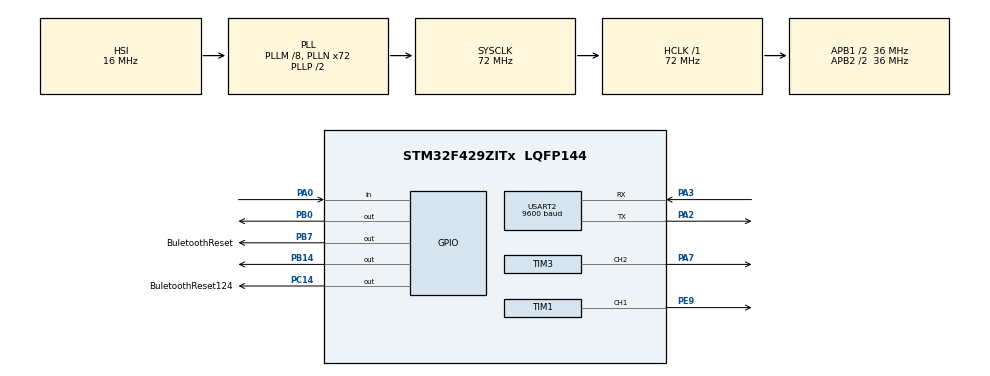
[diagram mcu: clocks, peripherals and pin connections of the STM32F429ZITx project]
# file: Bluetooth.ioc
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Dma.Request0=TIM1_CH1
Dma.TIM1_CH1.0.Direction=DMA_MEMORY_TO_PERIPH
Dma.TIM1_CH1.0.FIFOMode=DMA_FIFOMODE_DISABLE
Dma.TIM1_CH1.0.Instance=DMA2_Stream1
Dma.TIM1_CH1.0.MemDataAlignment=DMA_MDATAALIGN_HALFWORD
Dma.TIM1_CH1.0.MemInc=DMA_MINC_ENABLE
Dma.TIM1_CH1.0.Mode=DMA_NORMAL
Dma.TIM1_CH1.0.PeriphDataAlignment=DMA_PDATAALIGN_HALFWORD
Dma.TIM1_CH1.0.PeriphInc=DMA_PINC_DISABLE
Dma.TIM1_CH1.0.Priority=DMA_PRIORITY_LOW
Mcu.Family=STM32F4
Mcu.Name=STM32F429ZITx
Mcu.Package=LQFP144
NVIC.DMA2_Stream1_IRQn=true\:0\:0\:false\:false\:true\:false\:true\:true
NVIC.PriorityGroup=NVIC_PRIORITYGROUP_4
NVIC.TIM3_IRQn=true\:0\:0\:false\:false\:true\:true\:true\:true
NVIC.USART2_IRQn=true\:0\:0\:false\:false\:true\:true\:true\:true
PA0/WKUP.Signal=GPIO_Input
PA2.Mode=Asynchronous
PA2.Signal=USART2_TX
PA3.Mode=Asynchronous
PA3.Signal=USART2_RX
PA7.Signal=S_TIM3_CH2
PB0.Signal=GPIO_Output
PB14.Signal=GPIO_Output
PB7.GPIO_Label=BuletoothReset
PB7.Signal=GPIO_Output
PC14/OSC32_IN.GPIO_Label=BuletoothReset124
PC14/OSC32_IN.Signal=GPIO_Output
PE9.Signal=S_TIM1_CH1
PH0/OSC_IN.Mode=HSE-External-Oscillator
PH0/OSC_IN.Signal=RCC_OSC_IN
PH1/OSC_OUT.Mode=HSE-External-Oscillator
PH1/OSC_OUT.Signal=RCC_OSC_OUT
ProjectManager.HeapSize=0x200
ProjectManager.StackSize=0x400
ProjectManager.TargetToolchain=EWARM V8.32
RCC.48MHZClocksFreq_Value=36000000
RCC.AHBFreq_Value=72000000
RCC.APB1CLKDivider=RCC_HCLK_DIV2
RCC.APB1Freq_Value=36000000
RCC.APB1TimFreq_Value=72000000
RCC.APB2CLKDivider=RCC_HCLK_DIV2
RCC.APB2Freq_Value=36000000
RCC.APB2TimFreq_Value=72000000
RCC.CortexFreq_Value=72000000
RCC.HCLKFreq_Value=72000000
RCC.HSE_VALUE=25000000
RCC.HSI_VALUE=16000000
RCC.LSE_VALUE=32768
RCC.PLLM=8
RCC.PLLN=72
RCC.SYSCLKFreq_VALUE=72000000
RCC.SYSCLKSource=RCC_SYSCLKSOURCE_PLLCLK
RCC.VCOOutputFreq_Value=144000000
RTC.Date=25
RTC.Format=RTC_FORMAT_BIN
RTC.Hours=13
RTC.Minutes=4
RTC.Month=RTC_MONTH_NOVEMBER
RTC.SynchPrediv=251+1
RTC.WeekDay=RTC_WEEKDAY_FRIDAY
RTC.Year=22
SH.S_TIM1_CH1.0=TIM1_CH1,PWM Generation1 CH1
SH.S_TIM3_CH2.0=TIM3_CH2,PWM Generation2 CH2
TIM1.Channel-PWM\ Generation1\ CH1=TIM_CHANNEL_1
TIM1.Period=867-1
TIM3.Channel-PWM\ Generation2\ CH2=TIM_CHANNEL_2
TIM3.Period=1999
TIM3.Prescaler=720
USART2.BaudRate=9600
USART2.Mode=MODE_TX_RX
USART2.VirtualMode=VM_ASYNC
VP_RTC_VS_RTC_Activate.Mode=RTC_Enabled
VP_RTC_VS_RTC_Calendar.Mode=RTC_Calendar
VP_TIM1_VS_ClockSourceINT.Mode=Internal
VP_TIM3_VS_ClockSourceINT.Mode=Internal
board=custom

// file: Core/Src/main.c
/* USER CODE BEGIN Header */
/**
  ******************************************************************************
  * @file           : main.c
  * @brief          : Main program body
  ******************************************************************************
  * @attention
  *
  * <h2><center>&copy; Copyright (c) 2022 STMicroelectronics.
  * All rights reserved.</center></h2>
  *
  * This software component is licensed by ST under BSD 3-Clause license,
  * the "License"; You may not use this file except in compliance with the
  * License. You may obtain a copy of the License at:
  *                        opensource.org/licenses/BSD-3-Clause
  *
  ******************************************************************************
  */
/* USER CODE END Header */
#include "main.h"

/* USER CODE BEGIN Includes */
#include "extern.h"
#include <string.h>
#include <stdlib.h>
#include "mylibrary.h"
#include "math.h"
#include <stdio.h>
/* USER CODE END Includes */

 RTC_HandleTypeDef hrtc;

TIM_HandleTypeDef htim1;
TIM_HandleTypeDef htim3;
DMA_HandleTypeDef hdma_tim1_ch1;

UART_HandleTypeDef huart2;

/* USER CODE BEGIN PV */
char buffer[20];
int a =0;
int ia=0;
int iz=0;
/* USER CODE END PV */

void SystemClock_Config(void);
static void MX_GPIO_Init(void);
static void MX_USART2_UART_Init(void);
static void MX_DMA_Init(void);
static void MX_TIM3_Init(void);
static void MX_TIM1_Init(void);
static void MX_RTC_Init(void);

/* USER CODE BEGIN 0 */
#define MAX_LED 160
#define USE_BRIGHTNESS 1 //밝기조절 필요하면 1, 필요없으면 0

uint8_t LED_Data[MAX_LED][4]; //LED_Data는 개별 LED 색상 저장하는데 사용
uint8_t LED_Mod[MAX_LED][4];  // 밝기설정에 따라 스케일링 된 값

int datasentflag=0;

void HAL_TIM_PWM_PulseFinishedCallback(TIM_HandleTypeDef *htim)
{
	HAL_TIM_PWM_Stop_DMA(&htim1, TIM_CHANNEL_1);
	datasentflag=1;
}

void Set_LED (int LEDnum, int Red, int Green, int Blue)
{
	LED_Data[LEDnum][0] = LEDnum;
	LED_Data[LEDnum][1] = Green;
	LED_Data[LEDnum][2] = Red;
	LED_Data[LEDnum][3] = Blue;
}

#define PI 3.14159265

void Set_Brightness (int brightness)  // 0-45 : 밝기는 0-255 사이이고 TAN함수로 선형적으로 만듦
{
#if USE_BRIGHTNESS

	if (brightness > 45) brightness = 45;
	for (int i=0; i<MAX_LED; i++)
	{
		LED_Mod[i][0] = LED_Data[i][0];
		for (int j=1; j<4; j++)
		{
			float angle = 90-brightness;  // in degrees
			angle = angle*PI / 180;  // in rad
			LED_Mod[i][j] = (LED_Data[i][j])/(tan(angle));
		}
	}

#endif
}

uint16_t pwmData[(24*MAX_LED)+80];

void SK6812_Send (void)
{
	uint32_t indx=0;
	uint32_t color;

	for (int i= 0; i<MAX_LED; i++)
	{
#if USE_BRIGHTNESS
		color = ((LED_Mod[i][1]<<16) | (LED_Mod[i][2]<<8) | (LED_Mod[i][3]));
#else
		color = ((LED_Data[i][1]<<16) | (LED_Data[i][2]<<8) | (LED_Data[i][3]));
#endif

		for (int i=23; i>=0; i--)
		{
			if (color&(1<<i))
			{
				pwmData[indx] = 67;  // 3/4 of 90
			}

			else pwmData[indx] = 22;  // 1/4 of 90

			indx++;
		}

	}

	for (int i=0; i<80; i++)
	{
		pwmData[indx] = 0;
		indx++;
	}

	HAL_TIM_PWM_Start_DMA(&htim1, TIM_CHANNEL_1, (uint32_t *)pwmData, indx);
	while (!datasentflag){};
	datasentflag = 0;
}

void Reset_LED (void)
{
	for (int i=0; i<MAX_LED; i++)
	{
		LED_Data[i][0] = i;
		LED_Data[i][1] = 0;
		LED_Data[i][2] = 0;
		LED_Data[i][3] = 0;
	}
}
  int rz = 10;
  int gz = 15;
  int bz = 30;

// 무지개 색상데이터

  ////////////////////////////////
 uint16_t effStep = 0;

uint8_t rainbow_effect_left() {
    // Strip ID: 0 - Effect: Rainbow - LEDS: 160
    // Steps: 8 - Delay: 31
    // Colors: 3 (255.0.0, 0.255.0, 0.0.255)
    // Options: rainbowlen=1, toLeft=true,

  float factor1, factor2;
  uint16_t ind;
  for(uint16_t j=0;j<160;j++) {
    ind = effStep + j * 8;
    switch((int)((ind % 8) / 2.6666666666666665)) {
      case 0: factor1 = 1.0 - ((float)(ind % 8 - 0 * 2.6666666666666665) / 2.6666666666666665);
              factor2 = (float)((int)(ind - 0) % 8) / 2.6666666666666665;
              Set_LED(j, 255 * factor1 + 0 * factor2, 0 * factor1 + 255 * factor2, 0 * factor1 + 0 * factor2);
			  Set_Brightness(20);
		      SK6812_Send();
              break;
      case 1: factor1 = 1.0 - ((float)(ind % 8 - 1 * 2.6666666666666665) / 2.6666666666666665);
              factor2 = (float)((int)(ind - 2.6666666666666665) % 8) / 2.6666666666666665;
              Set_LED(j, 0 * factor1 + 0 * factor2, 255 * factor1 + 0 * factor2, 0 * factor1 + 255 * factor2);
			  Set_Brightness(20);
		      SK6812_Send();
              break;
      case 2: factor1 = 1.0 - ((float)(ind % 8 - 2 * 2.6666666666666665) / 2.6666666666666665);
              factor2 = (float)((int)(ind - 5.333333333333333) % 8) / 2.6666666666666665;
              Set_LED(j, 0 * factor1 + 255 * factor2, 0 * factor1 + 0 * factor2, 255 * factor1 + 0 * factor2);
			  Set_Brightness(20);
		      SK6812_Send();
              break;
    }
  }
  if(effStep >= 8) {effStep=0; return 0x03; }
  else effStep++;
  return 0x01;
}
uint8_t timer_count = 0, buffer_index = 0;

uint8_t string_compare(char array1[], char array2[], uint16_t length)
{
	 uint8_t comVAR=0, i;
	 for(i=0;i<length;i++)
	   	{
	   		  if(array1[i]==array2[i])
	   	  		  comVAR++;
	   	  	  else comVAR=0;
	   	}
	 if (comVAR==length)
		 	return 1;
	 else 	return 0;
}
// 색상 값 및 While 탈출식
void Message_handler()
{
	    if(string_compare(buffer, "ledon", strlen("ledon")))
	{
a=3;

		//HAL_GPIO_WritePin(GPIOB,GPIO_PIN_7, GPIO_PIN_SET);
               // HAL_GPIO_WritePin(GPIOB,GPIO_PIN_14, GPIO_PIN_SET);
              //  HAL_GPIO_WritePin(GPIOB,GPIO_PIN_0, GPIO_PIN_SET);

		HAL_UART_Transmit(&huart2, (uint8_t*)"LED is ON.\n", strlen("LED is ON.\n"), 200);
	}else
	if(string_compare(buffer, "ledoff", strlen("ledoff")))
	{
          a=1;
              // HAL_GPIO_WritePin(GPIOB,GPIO_PIN_7,GPIO_PIN_RESET);
             //  HAL_GPIO_WritePin(GPIOB,GPIO_PIN_14,GPIO_PIN_RESET);
            //  HAL_GPIO_WritePin(GPIOB,GPIO_PIN_0,GPIO_PIN_RESET);
	//	HAL_UART_Transmit(&huart2, (uint8_t*)"LED is OFF.\n", strlen("LED is OFF.\n"), 500);

	}else

                    if(string_compare(buffer, "red", strlen("red")))
	{
			iz=0, a=0;
                rz=100,bz=0,gz=0;
               // HAL_GPIO_WritePin(GPIOB,GPIO_PIN_7, GPIO_PIN_RESET);
             //   HAL_GPIO_WritePin(GPIOB,GPIO_PIN_14, GPIO_PIN_SET);
           //    HAL_GPIO_WritePin(GPIOB,GPIO_PIN_0, GPIO_PIN_RESET);

		HAL_UART_Transmit(&huart2, (uint8_t*)"RED.\n", strlen("RED.\n"), 500);
	}else
          if(string_compare(buffer, "blue", strlen("blue")))
	{
			iz=0, a=0;
                rz=0,bz=100,gz=0;
              // HAL_GPIO_WritePin(GPIOB,GPIO_PIN_7, GPIO_PIN_SET);
            //   HAL_GPIO_WritePin(GPIOB,GPIO_PIN_14, GPIO_PIN_RESET);
            //  HAL_GPIO_WritePin(GPIOB,GPIO_PIN_0, GPIO_PIN_RESET);

		HAL_UART_Transmit(&huart2, (uint8_t*)"BLUE.\n", strlen("BLUE.\n"), 500);
	}else
          if(string_compare(buffer, "gree", strlen("gree")))
	{
			iz=0, a=0;
                rz=0,bz=0,gz=100;
            //  HAL_GPIO_WritePin(GPIOB,GPIO_PIN_7, GPIO_PIN_RESET);
             //  HAL_GPIO_WritePin(GPIOB,GPIO_PIN_14, GPIO_PIN_RESET);
                //HAL_GPIO_WritePin(GPIOB,GPIO_PIN_0, GPIO_PIN_SET);
		HAL_UART_Transmit(&huart2, (uint8_t*)"GREEN.\n", strlen("GREEN.\n"), 500);
	}else
           if(string_compare(buffer, "ora", strlen("ora")))
	{
			iz=0, a=0;
                rz=100,bz=0,gz=40;
		HAL_UART_Transmit(&huart2, (uint8_t*)"ORANG.\n", strlen("ORANG.\n"), 500);
	}else
          if(string_compare(buffer, "yel", strlen("yel")))
	{
		iz=0, a=0;
                rz=100,bz=0,gz=100;
		HAL_UART_Transmit(&huart2, (uint8_t*)"YELLOW. \n", strlen("YELLO.\n"), 500);
	}else
          if(string_compare(buffer, "aqua", strlen("aqua")))
	{
			iz=0, a=0;
                rz=0,bz=100,gz=100;
		HAL_UART_Transmit(&huart2, (uint8_t*)"AQUA.\n", strlen("AQUA.\n"), 500);
	}else
           if(string_compare(buffer, "pur", strlen("pur")))
	{
			iz=0, a=0;
                rz=100,bz=100,gz=0;
		HAL_UART_Transmit(&huart2, (uint8_t*)"PURPLE.\n", strlen("PURPLE.\n"), 500);
	}else
          if(string_compare(buffer, "come", strlen("come")))
	{
			iz=0, a=0;
		       a=50;
		HAL_UART_Transmit(&huart2, (uint8_t*)"LED Brightness TEST.\n", strlen("LED Brightness TEST.\n"), 500);
	}else
          if(string_compare(buffer, "rain", strlen("rain")))
	{
			iz=0;
		        a=2;
                HAL_UART_Transmit(&huart2, (uint8_t*)"RAINBOW.\n", strlen("RAINBOW.\n"), 500);
	}
          else
            if(string_compare(buffer, "pin", strlen("pin")))
	{
			iz=0, a=0;
          rz=255,bz=45,gz=51;
                HAL_UART_Transmit(&huart2, (uint8_t*)"PINK.\n", strlen("PINK.\n"), 500);
	}
          else
            if(string_compare(buffer, "whi", strlen("whi")))
	{
			iz=0, a=0;
          rz=150,bz=150,gz=150;
                HAL_UART_Transmit(&huart2, (uint8_t*)"WHITE.\n", strlen("WHITE.\n"), 500);
	}
          else
            if(string_compare(buffer, "cju", strlen("cju")))
	{
          rz=80,bz=15,gz=45;

                HAL_UART_Transmit(&huart2, (uint8_t*)"CJU.\n", strlen("CJU.\n"), 500);
	}
          else
	{
		strcat(buffer, "\n");
		HAL_UART_Transmit(&huart2, (uint8_t*)buffer, strlen(buffer), 500);
	}

	memset(buffer, 0x00, sizeof(buffer));
	buffer_index = 0;
	timer_count = 0;
}

/* USER CODE END 0 */

int main(void)
{

  /* MCU Configuration--------------------------------------------------------*/

  /* Reset of all peripherals, Initializes the Flash interface and the Systick. */
  HAL_Init();

  /* Configure the system clock */
  SystemClock_Config();

  /* USER CODE BEGIN SysInit */
RTC_TimeTypeDef sTime;
RTC_DateTypeDef sDate;
  /* USER CODE END SysInit */

  /* Initialize all configured peripherals */
  MX_GPIO_Init();
  MX_USART2_UART_Init();
  MX_DMA_Init();
  MX_TIM3_Init();
  MX_TIM1_Init();
  MX_RTC_Init();
  /* USER CODE BEGIN 2 */
  static char toggle[4] = {0,};
  static uint32_t tick_Seconds = 0;

  HAL_RTC_GetTime(&hrtc, &sTime, RTC_FORMAT_BIN);
  tick_Seconds = sTime.Seconds;

// 이 코드를 추가해야 한다. 함수 원형은 이렇게 생겼다.
  // HAL_StatusTypeDef HAL_UART_Receive_IT
  //                  (UART_HandleTypeDef *huart, uint8_t *pData, uint16_t Size)
//  HAL_UART_Receive_IT(&huart2, (uint8_t*)uart2_rx_data, 1);
//HAL_TIM_PWM_Start(&htim1, TIM_CHANNEL_1);
//HAL_TIM_PWM_Start(&htim3, TIM_CHANNEL_1);

 // HAL_Delay(200);
 // HAL_GPIO_WritePin(BuletoothReset_GPIO_Port, BuletoothReset_Pin, GPIO_PIN_SET);
 // HAL_Delay(1000);
 // memset(buffer, 0x00, sizeof(buffer));
  HAL_TIM_Base_Start_IT(&htim3);
  __HAL_UART_ENABLE_IT(&huart2, UART_IT_RXNE);
  /* USER CODE END 2 */

  /* Infinite loop */
  /* USER CODE BEGIN WHILE */
  while (1)
  {
HAL_RTC_GetTime(&hrtc, &sTime, RTC_FORMAT_BIN);
HAL_RTC_GetDate(&hrtc, &sDate, RTC_FORMAT_BIN);
/*
if(sTime.Seconds == 0 && tick_Seconds == 59)
{
	tick_Seconds = 0;
	toggle[0] = 0;
    printf("%04d-%02d-%02d -- %02d:%02d:%02d\r\n",sDate.Year+2000,sDate.Month,sDate.Date,sTime.Hours,sTime.Minutes,sTime.Seconds);
  }
  */
    /* USER CODE END WHILE */

    /* USER CODE BEGIN 3 */

// RTC식
if(string_compare(buffer, "timon", strlen("timon")))
{
    if(sTime.Seconds  > tick_Seconds)
    {
      tick_Seconds = sTime.Seconds;
      toggle[0] ^= 1;
      if(toggle[0]){

        printf("%04d-%02d-%02d -- %02d:%02d:%02d\r\n",sDate.Year+2000,sDate.Month,sDate.Date,sTime.Hours,sTime.Minutes,sTime.Seconds);
      }
      else {
;
        printf("%04d-%02d-%02d -- %02d:%02d:%02d\r\n",sDate.Year+2000,sDate.Month,sDate.Date,sTime.Hours,sTime.Minutes,sTime.Seconds);
HAL_UART_Transmit(&huart2, (uint8_t*)"", strlen(""), 500);
      }
	}
  }

// 밝기 제어식

		  if(string_compare(buffer, "danA", strlen("danA")))
			{
			iz=0;
			Set_Brightness(0);
			SK6812_Send();
			}
		  else
			if(string_compare(buffer, "danB", strlen("danB")))
			{
			//	for (int i=0; i<5; i++)
		//	{
			iz=5;
			Set_Brightness(5);
			SK6812_Send();
	//		}
			}
		  else
			if(string_compare(buffer, "danC", strlen("danC")))
			{
	//			for (int i=5; i<10; i++)
	//		{
			iz=10;
			Set_Brightness(10);
			SK6812_Send();
	//		}
			}
		  if(string_compare(buffer, "danD", strlen("danD")))
			{
			iz=15;
			Set_Brightness(15);
			SK6812_Send();
			}
		  else
			if(string_compare(buffer, "danE", strlen("danE")))
			{
			iz=20;
			Set_Brightness(20);
			SK6812_Send();
			}
		  else
			if(string_compare(buffer, "danF", strlen("danF")))
			{
			iz=25;
			Set_Brightness(25);
			SK6812_Send();
			}
		  else
			if(string_compare(buffer, "danG", strlen("danG")))
			{
			iz=30;
			Set_Brightness(30);
			SK6812_Send();
			}
		  else
			if(string_compare(buffer, "danH", strlen("danH")))
			{
			iz=35;
			Set_Brightness(35);
			SK6812_Send();
			}
		  if(string_compare(buffer, "danI", strlen("danI")))
			{
			iz=40;
			Set_Brightness(40);
			SK6812_Send();
			}
		  else
			if(string_compare(buffer, "danJ", strlen("danJ")))
			{
			iz=45;
			Set_Brightness(45);
			SK6812_Send();
			}

if(string_compare(buffer, "RA", strlen("RA")))
			{
 				rz=0;
				iz=0, a=0;
			}
else
if(string_compare(buffer, "RB", strlen("RB")))
			{
 				rz=15;
				iz=1, a=0;
			}
else
if(string_compare(buffer, "RC", strlen("RC")))
			{
 				rz=30;
				iz=1, a=0;
			}
else
if(string_compare(buffer, "RD", strlen("RD")))
			{
 				rz=45;
				iz=1, a=0;
			}
else
if(string_compare(buffer, "RE", strlen("RE")))
			{
 				rz=60;
				iz=1, a=0;
			}
else

if(string_compare(buffer, "RF", strlen("RF")))
			{
 				rz=75;
				iz=1, a=0;
			}
else
if(string_compare(buffer, "RG", strlen("RG")))
			{
 				rz=90;
				iz=1, a=0;
			}
else
if(string_compare(buffer, "RH", strlen("RH")))
			{
 				rz=105;
				iz=1, a=0;
			}
else
if(string_compare(buffer, "RI", strlen("RI")))
			{
 				rz=120;
				iz=1, a=0;
			}
else
if(string_compare(buffer, "RJ", strlen("RJ")))
			{
 				rz=135;
				iz=1, a=0;
			}
else

if(string_compare(buffer, "RK", strlen("RK")))
			{
 				rz=150;
				iz=1, a=0;
			}
else
if(string_compare(buffer, "RL", strlen("RL")))
			{
 				rz=165;
				iz=1, a=0;
			}
else
if(string_compare(buffer, "RM", strlen("RM")))
			{
 				rz=180;
				iz=1, a=0;
			}
else
if(string_compare(buffer, "RN", strlen("RN")))
			{
 				rz=195;
				iz=1, a=0;
			}
else
if(string_compare(buffer, "RO", strlen("RO")))
			{
 				rz=210;
				iz=1, a=0;
			}
else
if(string_compare(buffer, "RP", strlen("RP")))
			{
 				rz=225;
				iz=1, a=0;
			}
else
if(string_compare(buffer, "GA", strlen("GA")))
			{
 				gz=0;
				iz=0, a=0;
			}
else
if(string_compare(buffer, "GB", strlen("GB")))
			{
 				gz=15;
				iz=1, a=0;
			}
else
if(string_compare(buffer, "GC", strlen("GC")))
			{
 				gz=30;
				iz=1, a=0;
			}
else
if(string_compare(buffer, "GD", strlen("GD")))
			{
 				gz=45;
				iz=1, a=0;
			}
else
if(string_compare(buffer, "GE", strlen("GE")))
			{
 				gz=60;
				iz=1, a=0;
			}
else
if(string_compare(buffer, "GF", strlen("GF")))
			{
 				gz=75;
				iz=1, a=0;
			}
else
if(string_compare(buffer, "GG", strlen("GG")))
			{
 				gz=90;
				iz=1, a=0;
			}
else
if(string_compare(buffer, "GH", strlen("GH")))
			{
 				gz=105;
				iz=1, a=0;
			}
else
if(string_compare(buffer, "GI", strlen("GI")))
			{
 				gz=120;
				iz=1, a=0;
			}
else
if(string_compare(buffer, "GJ", strlen("GJ")))
			{
 				gz=135;
				iz=1, a=0;
			}
else
if(string_compare(buffer, "GK", strlen("GK")))
			{
 				gz=150;
				iz=1, a=0;
			}
else
if(string_compare(buffer, "GL", strlen("GL")))
			{
 				gz=165;
				iz=1, a=0;
			}
else
if(string_compare(buffer, "GM", strlen("GM")))
			{
 				gz=180;
				iz=1, a=0;
			}
else
if(string_compare(buffer, "GN", strlen("GN")))
			{
 				gz=195;
				iz=1, a=0;
			}
else
if(string_compare(buffer, "GO", strlen("GO")))
			{
 				gz=210;
				iz=1, a=0;
			}
else
if(string_compare(buffer, "GP", strlen("GP")))
			{
 				gz=225;
				iz=1, a=0;
			}
else
if(string_compare(buffer, "BA", strlen("BA")))
			{
 				bz=0;
				iz=0, a=0;
			}
else
if(string_compare(buffer, "BB", strlen("BB")))
			{
 				bz=15;
				iz=1, a=0;
			}
else
if(string_compare(buffer, "BC", strlen("BC")))
			{
 				bz=30;
				iz=1, a=0;
			}
else
if(string_compare(buffer, "BD", strlen("BD")))
			{
 				bz=45;
				iz=1, a=0;
			}
else
if(string_compare(buffer, "BE", strlen("BE")))
			{
 				bz=60;
				iz=1, a=0;
			}
else
if(string_compare(buffer, "BF", strlen("BF")))
			{
 				bz=75;
				iz=1, a=0;
			}
else
if(string_compare(buffer, "BG", strlen("BG")))
			{
 				bz=90;
				iz=1, a=0;
			}
else
if(string_compare(buffer, "BH", strlen("BH")))
			{
 				bz=105;
				iz=1, a=0;
			}
else
if(string_compare(buffer, "BI", strlen("BI")))
			{
 				bz=120;
				iz=1, a=0;
			}
else
if(string_compare(buffer, "BJ", strlen("BJ")))
			{
 				bz=135;
				iz=1, a=0;
			}
else
if(string_compare(buffer, "BK", strlen("BK")))
			{
 				bz=150;
				iz=1, a=0;
			}
else
if(string_compare(buffer, "BL", strlen("BL")))
			{
 				bz=165;
				iz=1, a=0;
			}
else
if(string_compare(buffer, "BM", strlen("BM")))
			{
 				bz=180;
				iz=1, a=0;
			}
else
if(string_compare(buffer, "BN", strlen("BN")))
			{
 				bz=195;
				iz=1, a=0;
			}
else
if(string_compare(buffer, "BO", strlen("BO")))
			{
 				bz=210;
				iz=1, a=0;
			}
else
if(string_compare(buffer, "BP", strlen("BP")))
			{
 				bz=225;
				iz=1, a=0;
			}
// 색상 설정 동시에 ON

                    if(string_compare(buffer, "redon", strlen("redon")))
	{
			iz=0;
                rz=100,bz=0,gz=0;
	Set_Brightness(25);
	SK6812_Send();

	}else
          if(string_compare(buffer, "blueon", strlen("blueon")))
	{
			iz=0;
                rz=0,bz=100,gz=0;
	Set_Brightness(25);
	SK6812_Send();

	}else
          if(string_compare(buffer, "greenon", strlen("greenon")))
	{
			iz=0;
                rz=0,bz=0,gz=100;
	Set_Brightness(25);
	SK6812_Send();

	}else
           if(string_compare(buffer, "oraon", strlen("oraon")))
	{
			iz=0;
                rz=100,bz=0,gz=40;
	Set_Brightness(25);
	SK6812_Send();

	}else
          if(string_compare(buffer, "yelon", strlen("yelon")))
	{
			iz=0;
                rz=50,bz=0,gz=50;
	Set_Brightness(25);
	SK6812_Send();

	}else
          if(string_compare(buffer, "aquaon", strlen("aquaon")))
	{
			iz=0;
                rz=0,bz=100,gz=100;
	Set_Brightness(25);
	SK6812_Send();

	}else
           if(string_compare(buffer, "puron", strlen("puron")))
	{
			iz=0;
                rz=100,bz=100,gz=0;
	Set_Brightness(25);
	SK6812_Send();

	}else

            if(string_compare(buffer, "pinon", strlen("pinon")))
	{
			iz=0;
          rz=255,bz=45,gz=51;

	Set_Brightness(25);
	SK6812_Send();

	}
          else
            if(string_compare(buffer, "whion", strlen("whion")))
	{
			iz=0;
          rz=150,bz=150,gz=150;
	Set_Brightness(25);
	SK6812_Send();

	}
          else

// I 점증감식 제어

if(string_compare(buffer, "ledon", strlen("ledon")))
     {

while(iz<=44)
{
	iz++;

	Set_Brightness(iz);
	SK6812_Send();

}
   //HAL_UART_Transmit(&huart2, (uint8_t*)"LED is ON.\n", strlen("LED is ON.\n"), 500);
     }
        else
             if(string_compare(buffer, "ledoff", strlen("ledoff")))
     {

 while(iz>=1)
	  {
	iz--;
		  Set_Brightness(iz);
		  SK6812_Send();

	  }
         // HAL_UART_Transmit(&huart2, (uint8_t*)"LED is OFF.\n", strlen("LED is OFF.\n"), 500);
     }
	else
             if(string_compare(buffer, "come", strlen("come")))
     {

       do{
           for (int i=0; i<34; i++)
	  {
		  Set_Brightness(i);
		  SK6812_Send();
//		  HAL_Delay (1);
	  }
              for (int i=35; i>=0; i--)
	  {
		  Set_Brightness(i);
		  SK6812_Send();
		  // HAL_Delay (1);
	  }
       }while(a==50);
     }
    else
             if(string_compare(buffer, "rain", strlen("rain")))
     {

                      do
			{
				rainbow_effect_left();
				iz = 20;
		//		HAL_Delay (10);
			}

			while(a==2);
     }

    /* USER CODE END WHILE */

    /* USER CODE BEGIN 3 */

	for(byte i = 0; i < 160; i++)
	{
		Set_LED(i, rz, gz, bz);
	}

  }	//end main while loop

  /* USER CODE END 3 */
}	//end main loop

void SystemClock_Config(void)
{
  RCC_OscInitTypeDef RCC_OscInitStruct = {0};
  RCC_ClkInitTypeDef RCC_ClkInitStruct = {0};

  /** Configure the main internal regulator output voltage
  */
  __HAL_RCC_PWR_CLK_ENABLE();
  __HAL_PWR_VOLTAGESCALING_CONFIG(PWR_REGULATOR_VOLTAGE_SCALE3);

  /** Initializes the RCC Oscillators according to the specified parameters
  * in the RCC_OscInitTypeDef structure.
  */
  RCC_OscInitStruct.OscillatorType = RCC_OSCILLATORTYPE_HSI|RCC_OSCILLATORTYPE_LSI;
  RCC_OscInitStruct.HSIState = RCC_HSI_ON;
  RCC_OscInitStruct.HSICalibrationValue = RCC_HSICALIBRATION_DEFAULT;
  RCC_OscInitStruct.LSIState = RCC_LSI_ON;
  RCC_OscInitStruct.PLL.PLLState = RCC_PLL_ON;
  RCC_OscInitStruct.PLL.PLLSource = RCC_PLLSOURCE_HSI;
  RCC_OscInitStruct.PLL.PLLM = 8;
  RCC_OscInitStruct.PLL.PLLN = 72;
  RCC_OscInitStruct.PLL.PLLP = RCC_PLLP_DIV2;
  RCC_OscInitStruct.PLL.PLLQ = 4;
  if (HAL_RCC_OscConfig(&RCC_OscInitStruct) != HAL_OK)
  {
    Error_Handler();
  }

  /** Initializes the CPU, AHB and APB buses clocks
  */
  RCC_ClkInitStruct.ClockType = RCC_CLOCKTYPE_HCLK|RCC_CLOCKTYPE_SYSCLK
                              |RCC_CLOCKTYPE_PCLK1|RCC_CLOCKTYPE_PCLK2;
  RCC_ClkInitStruct.SYSCLKSource = RCC_SYSCLKSOURCE_PLLCLK;
  RCC_ClkInitStruct.AHBCLKDivider = RCC_SYSCLK_DIV1;
  RCC_ClkInitStruct.APB1CLKDivider = RCC_HCLK_DIV2;
  RCC_ClkInitStruct.APB2CLKDivider = RCC_HCLK_DIV2;

  if (HAL_RCC_ClockConfig(&RCC_ClkInitStruct, FLASH_LATENCY_2) != HAL_OK)
  {
    Error_Handler();
  }
}

static void MX_RTC_Init(void)
{

  RTC_TimeTypeDef sTime = {0};
  RTC_DateTypeDef sDate = {0};

  /** Initialize RTC Only
  */
  hrtc.Instance = RTC;
  hrtc.Init.HourFormat = RTC_HOURFORMAT_24;
  hrtc.Init.AsynchPrediv = 127;
  hrtc.Init.SynchPrediv = 251+1;
  hrtc.Init.OutPut = RTC_OUTPUT_DISABLE;
  hrtc.Init.OutPutPolarity = RTC_OUTPUT_POLARITY_HIGH;
  hrtc.Init.OutPutType = RTC_OUTPUT_TYPE_OPENDRAIN;
  if (HAL_RTC_Init(&hrtc) != HAL_OK)
  {
    Error_Handler();
  }

  /** Initialize RTC and set the Time and Date
  */
  sTime.Hours = 13;
  sTime.Minutes = 27;
  sTime.Seconds = 30;
  sTime.DayLightSaving = RTC_DAYLIGHTSAVING_NONE;
  sTime.StoreOperation = RTC_STOREOPERATION_RESET;
  if (HAL_RTC_SetTime(&hrtc, &sTime, RTC_FORMAT_BIN) != HAL_OK)
  {
    Error_Handler();
  }
  sDate.WeekDay = RTC_WEEKDAY_FRIDAY;
  sDate.Month = RTC_MONTH_NOVEMBER;
  sDate.Date = 25;
  sDate.Year = 22;

  if (HAL_RTC_SetDate(&hrtc, &sDate, RTC_FORMAT_BIN) != HAL_OK)
  {
    Error_Handler();
  }

}

static void MX_TIM1_Init(void)
{

  TIM_ClockConfigTypeDef sClockSourceConfig = {0};
  TIM_MasterConfigTypeDef sMasterConfig = {0};
  TIM_OC_InitTypeDef sConfigOC = {0};
  TIM_BreakDeadTimeConfigTypeDef sBreakDeadTimeConfig = {0};

  htim1.Instance = TIM1;
  htim1.Init.Prescaler = 0;
  htim1.Init.CounterMode = TIM_COUNTERMODE_UP;
  htim1.Init.Period = 86-1;
  htim1.Init.ClockDivision = TIM_CLOCKDIVISION_DIV1;
  htim1.Init.RepetitionCounter = 0;
  htim1.Init.AutoReloadPreload = TIM_AUTORELOAD_PRELOAD_DISABLE;
  if (HAL_TIM_Base_Init(&htim1) != HAL_OK)
  {
    Error_Handler();
  }
  sClockSourceConfig.ClockSource = TIM_CLOCKSOURCE_INTERNAL;
  if (HAL_TIM_ConfigClockSource(&htim1, &sClockSourceConfig) != HAL_OK)
  {
    Error_Handler();
  }
  if (HAL_TIM_PWM_Init(&htim1) != HAL_OK)
  {
    Error_Handler();
  }
  sMasterConfig.MasterOutputTrigger = TIM_TRGO_RESET;
  sMasterConfig.MasterSlaveMode = TIM_MASTERSLAVEMODE_DISABLE;
  if (HAL_TIMEx_MasterConfigSynchronization(&htim1, &sMasterConfig) != HAL_OK)
  {
    Error_Handler();
  }
  sConfigOC.OCMode = TIM_OCMODE_PWM1;
  sConfigOC.Pulse = 0;
  sConfigOC.OCPolarity = TIM_OCPOLARITY_HIGH;
  sConfigOC.OCNPolarity = TIM_OCNPOLARITY_HIGH;
  sConfigOC.OCFastMode = TIM_OCFAST_DISABLE;
  sConfigOC.OCIdleState = TIM_OCIDLESTATE_RESET;
  sConfigOC.OCNIdleState = TIM_OCNIDLESTATE_RESET;
  if (HAL_TIM_PWM_ConfigChannel(&htim1, &sConfigOC, TIM_CHANNEL_1) != HAL_OK)
  {
    Error_Handler();
  }
  sBreakDeadTimeConfig.OffStateRunMode = TIM_OSSR_DISABLE;
  sBreakDeadTimeConfig.OffStateIDLEMode = TIM_OSSI_DISABLE;
  sBreakDeadTimeConfig.LockLevel = TIM_LOCKLEVEL_OFF;
  sBreakDeadTimeConfig.DeadTime = 0;
  sBreakDeadTimeConfig.BreakState = TIM_BREAK_DISABLE;
  sBreakDeadTimeConfig.BreakPolarity = TIM_BREAKPOLARITY_HIGH;
  sBreakDeadTimeConfig.AutomaticOutput = TIM_AUTOMATICOUTPUT_DISABLE;
  if (HAL_TIMEx_ConfigBreakDeadTime(&htim1, &sBreakDeadTimeConfig) != HAL_OK)
  {
    Error_Handler();
  }
  HAL_TIM_MspPostInit(&htim1);

}

static void MX_TIM3_Init(void)
{

  TIM_ClockConfigTypeDef sClockSourceConfig = {0};
  TIM_MasterConfigTypeDef sMasterConfig = {0};
  TIM_OC_InitTypeDef sConfigOC = {0};

  htim3.Instance = TIM3;
  htim3.Init.Prescaler = 720;
  htim3.Init.CounterMode = TIM_COUNTERMODE_UP;
  htim3.Init.Period = 1999;
  htim3.Init.ClockDivision = TIM_CLOCKDIVISION_DIV1;
  htim3.Init.AutoReloadPreload = TIM_AUTORELOAD_PRELOAD_DISABLE;
  if (HAL_TIM_Base_Init(&htim3) != HAL_OK)
  {
    Error_Handler();
  }
  sClockSourceConfig.ClockSource = TIM_CLOCKSOURCE_INTERNAL;
  if (HAL_TIM_ConfigClockSource(&htim3, &sClockSourceConfig) != HAL_OK)
  {
    Error_Handler();
  }
  if (HAL_TIM_PWM_Init(&htim3) != HAL_OK)
  {
    Error_Handler();
  }
  sMasterConfig.MasterOutputTrigger = TIM_TRGO_RESET;
  sMasterConfig.MasterSlaveMode = TIM_MASTERSLAVEMODE_DISABLE;
  if (HAL_TIMEx_MasterConfigSynchronization(&htim3, &sMasterConfig) != HAL_OK)
  {
    Error_Handler();
  }
  sConfigOC.OCMode = TIM_OCMODE_PWM1;
  sConfigOC.Pulse = 0;
  sConfigOC.OCPolarity = TIM_OCPOLARITY_HIGH;
  sConfigOC.OCFastMode = TIM_OCFAST_DISABLE;
  if (HAL_TIM_PWM_ConfigChannel(&htim3, &sConfigOC, TIM_CHANNEL_2) != HAL_OK)
  {
    Error_Handler();
  }
  HAL_TIM_MspPostInit(&htim3);

}

static void MX_USART2_UART_Init(void)
{

  huart2.Instance = USART2;
  huart2.Init.BaudRate = 9600;
  huart2.Init.WordLength = UART_WORDLENGTH_8B;
  huart2.Init.StopBits = UART_STOPBITS_1;
  huart2.Init.Parity = UART_PARITY_NONE;
  huart2.Init.Mode = UART_MODE_TX_RX;
  huart2.Init.HwFlowCtl = UART_HWCONTROL_NONE;
  huart2.Init.OverSampling = UART_OVERSAMPLING_16;
  if (HAL_UART_Init(&huart2) != HAL_OK)
  {
    Error_Handler();
  }

}

static void MX_DMA_Init(void)
{

  /* DMA controller clock enable */
  __HAL_RCC_DMA2_CLK_ENABLE();

  /* DMA interrupt init */
  /* DMA2_Stream1_IRQn interrupt configuration */
  HAL_NVIC_SetPriority(DMA2_Stream1_IRQn, 0, 0);
  HAL_NVIC_EnableIRQ(DMA2_Stream1_IRQn);

}

static void MX_GPIO_Init(void)
{
  GPIO_InitTypeDef GPIO_InitStruct = {0};

  /* GPIO Ports Clock Enable */
  __HAL_RCC_GPIOC_CLK_ENABLE();
  __HAL_RCC_GPIOH_CLK_ENABLE();
  __HAL_RCC_GPIOA_CLK_ENABLE();
  __HAL_RCC_GPIOB_CLK_ENABLE();
  __HAL_RCC_GPIOE_CLK_ENABLE();

  /*Configure GPIO pin Output Level */
  HAL_GPIO_WritePin(BuletoothReset124_GPIO_Port, BuletoothReset124_Pin, GPIO_PIN_RESET);

  /*Configure GPIO pin Output Level */
  HAL_GPIO_WritePin(GPIOB, GPIO_PIN_0|GPIO_PIN_14|BuletoothReset_Pin, GPIO_PIN_RESET);

  /*Configure GPIO pin : BuletoothReset124_Pin */
  GPIO_InitStruct.Pin = BuletoothReset124_Pin;
  GPIO_InitStruct.Mode = GPIO_MODE_OUTPUT_PP;
  GPIO_InitStruct.Pull = GPIO_NOPULL;
  GPIO_InitStruct.Speed = GPIO_SPEED_FREQ_LOW;
  HAL_GPIO_Init(BuletoothReset124_GPIO_Port, &GPIO_InitStruct);

  /*Configure GPIO pin : PA0 */
  GPIO_InitStruct.Pin = GPIO_PIN_0;
  GPIO_InitStruct.Mode = GPIO_MODE_INPUT;
  GPIO_InitStruct.Pull = GPIO_NOPULL;
  HAL_GPIO_Init(GPIOA, &GPIO_InitStruct);

  /*Configure GPIO pins : PB0 PB14 BuletoothReset_Pin */
  GPIO_InitStruct.Pin = GPIO_PIN_0|GPIO_PIN_14|BuletoothReset_Pin;
  GPIO_InitStruct.Mode = GPIO_MODE_OUTPUT_PP;
  GPIO_InitStruct.Pull = GPIO_NOPULL;
  GPIO_InitStruct.Speed = GPIO_SPEED_FREQ_LOW;
  HAL_GPIO_Init(GPIOB, &GPIO_InitStruct);

}

void Error_Handler(void)
{
  __disable_irq();
  while (1)
  {
  }
}
